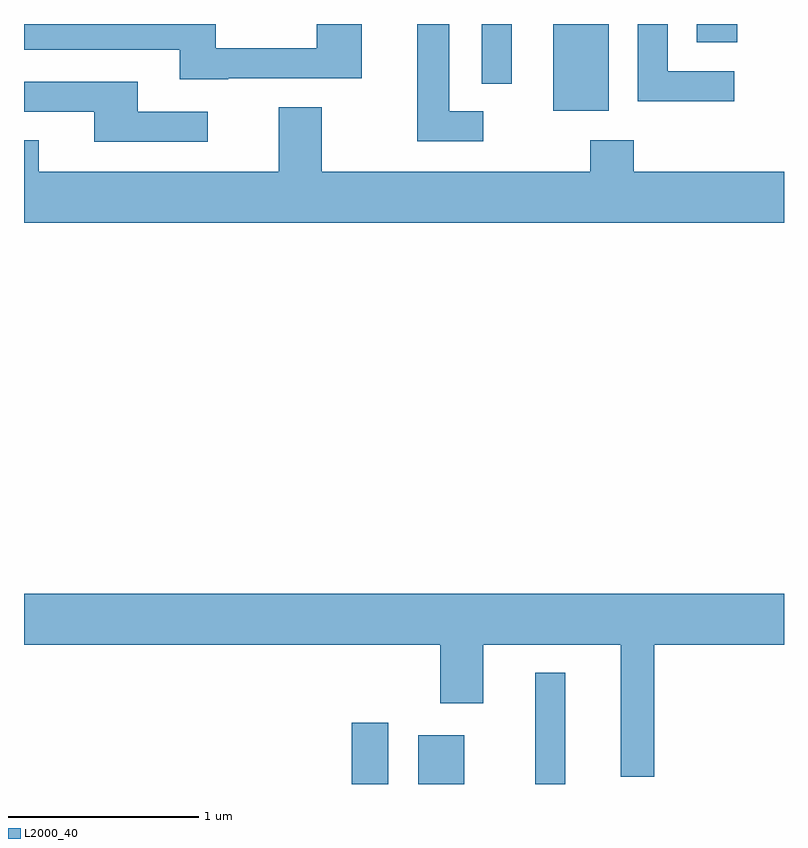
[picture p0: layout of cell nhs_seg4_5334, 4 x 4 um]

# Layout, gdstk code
import gdstk
lib = gdstk.Library(unit=1e-6, precision=1e-09)
def R(c, l, rs):  # rectangles x0, y0, x1, y1
    for r in rs: c.add(gdstk.rectangle(r[:2], r[2:], *l))
def P(c, l, *ps):  # polygons
    for p in ps: c.add(gdstk.Polygon(p, *l))
L2000_40 = (2000, 40)

nhs_seg4_5334 = lib.new_cell('nhs_seg4_5334')
R(nhs_seg4_5334, L2000_40, [(343.336,1313.982,343.529,1314.304), (343.686,1313.982,343.929,1314.239), (344.301,1313.982,344.459,1314.568), (344.396,1317.526,344.689,1317.982), (344.021,1317.668,344.179,1317.982), (345.151,1317.886,345.364,1317.982)])
P(nhs_seg4_5334, L2000_40, [(342.685,1317.696),(343.389,1317.696),(343.389,1317.982),(343.151,1317.982),(343.151,1317.854),(342.619,1317.854),(342.619,1317.982),(341.611,1317.982),(341.611,1317.846),(342.431,1317.846),(342.431,1317.691),(342.685,1317.691)],
  [(345.348,1317.734),(344.999,1317.734),(344.999,1317.982),(344.841,1317.982),(344.841,1317.576),(345.348,1317.576)],
  [(344.028,1317.524),(343.849,1317.524),(343.849,1317.982),(343.681,1317.982),(343.681,1317.366),(344.028,1317.366)],
  [(342.578,1317.519),(342.209,1317.519),(342.209,1317.679),(341.611,1317.679),(341.611,1317.521),(341.981,1317.521),(341.981,1317.361),(342.578,1317.361)],
  [(345.611,1317.204),(344.819,1317.204),(344.819,1317.369),(344.591,1317.369),(344.591,1317.204),(343.179,1317.204),(343.179,1317.544),(342.951,1317.544),(342.951,1317.204),(341.689,1317.204),(341.689,1317.369),(341.611,1317.369),(341.611,1316.936),(345.611,1316.936)],
  [(344.929,1314.716),(345.611,1314.716),(345.611,1314.984),(341.611,1314.984),(341.611,1314.716),(343.801,1314.716),(343.801,1314.406),(344.029,1314.406),(344.029,1314.716),(344.751,1314.716),(344.751,1314.021),(344.929,1314.021)])

lib.write_gds('nhs_seg4_5334.gds')
